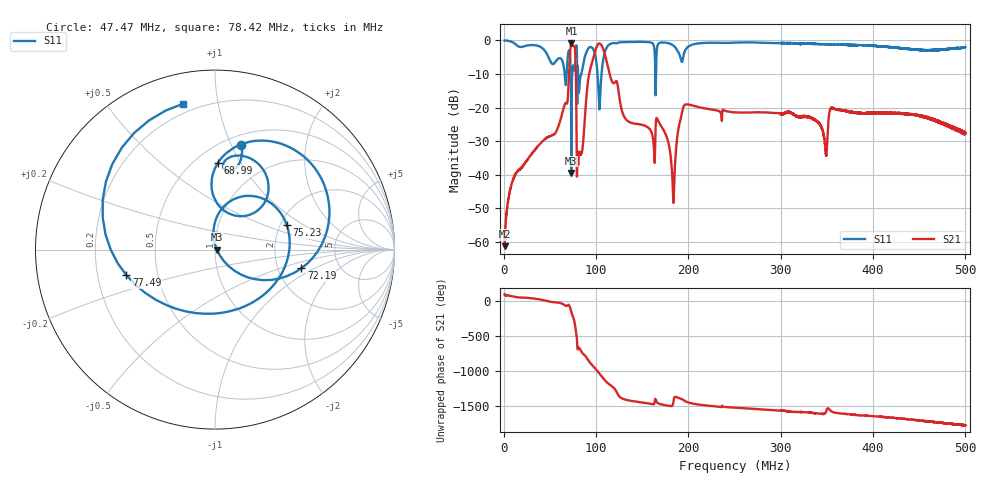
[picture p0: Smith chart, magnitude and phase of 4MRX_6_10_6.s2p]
! NanoVNA-App
! Date: 2026-08-19 15:10:47
! Start: 1MHz Stop: 500MHz Points: 6401
! S-Parameter data: F S11 S21 S12 S22
# Hz S RI R 50
!  Frequency  S11_Real  S11_Imag  S21_Real  S21_Imag  S12_Real  S12_Imag  S22_Real  S22_Imag
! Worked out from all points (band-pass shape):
!   6401 points, 1 MHz to 500 MHz, reference 50 ohm
!   highest |S21| = -0.85 dB at 73.36 MHz (marker M1); lowest = -61.3 dB at 1 MHz (marker M2)
!   |S21| within 3 dB of the highest: 71.98 MHz to 77.56 MHz (5.583 MHz wide, 7.47 % of centre); 98.35 MHz to 109.3 MHz (10.91 MHz wide, 10.5 % of centre)
!   lowest |S11| = -39.5 dB at 73.2 MHz (marker M3), VSWR 1.02, Z = 51.1 + j0.0509 ohm
!   |S11| at or under -10 dB: 66.04 MHz to 68.21 MHz (2.167 MHz wide, 3.23 % of centre); 80.64 MHz to 84.04 MHz (3.398 MHz wide, 4.13 % of centre); 101.6 MHz to 105.9 MHz (4.319 MHz wide, 4.16 % of centre)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
!   S12 and S22 are empty: the file has one direction only
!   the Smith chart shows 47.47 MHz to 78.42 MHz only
!   S11 on the Smith chart (normalised r, x): 47.47 MHz: 0.59, +1.09; 68.99 MHz: 0.64, +0.80; 72.19 MHz: 2.71, -0.74; 75.23 MHz: 2.17, +0.72; 77.49 MHz: 0.33, -0.13; 78.42 MHz: 0.15, +0.80
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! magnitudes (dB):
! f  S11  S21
! 1 MHz  0.0  -61.3
! 11.21 MHz  -0.8  -40.8
! 47.47 MHz  -4.4  -28.9
! 68.99 MHz  -6.3  -18.4
! 72.19 MHz  -6.2  -3.0
! 73.2 MHz  -39.5  -0.9
! 73.36 MHz  -23.3  -0.8
! 75.23 MHz  -7.5  -1.7
! 77.49 MHz  -5.8  -3.5
! 78.42 MHz  -1.6  -14.9
! 81.23 MHz  -15.1  -34.5
! 84.19 MHz  -9.9  -33.9
! 95.34 MHz  -2.1  -6.9
! 103.2 MHz  -18.7  -0.9
! 132.3 MHz  -0.5  -23.5
! 167.4 MHz  -1.0  -24.0
! 183.5 MHz  -1.5  -47.3
! 196.4 MHz  -3.1  -19.1
! 250.5 MHz  -0.7  -21.4
! 333.7 MHz  -1.0  -23.3
! 416.9 MHz  -1.9  -21.7
! 500 MHz  -2.0  -27.7
